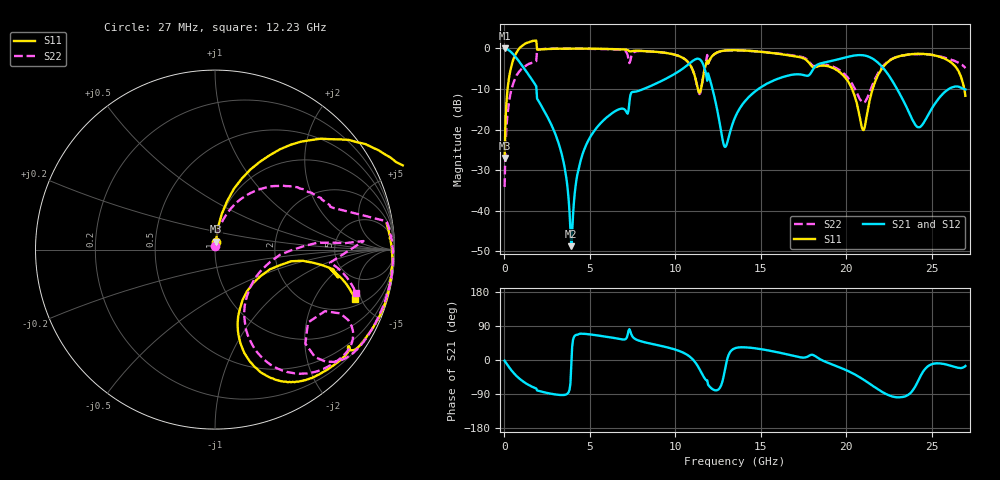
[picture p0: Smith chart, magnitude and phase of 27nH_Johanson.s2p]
#  HZ  S  MA  R  50.00
! Rohde & Schwarz ZVA67 4Ports - Version 4.11 - 1305.7002k04 SN: 101051
! Date: 2023-05-24 10:44:31
! Measurements: S11 S21 S12 S22
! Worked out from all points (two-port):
!   540 points, 27 MHz to 26.98 GHz, reference 50 ohm
!   highest |S21| = -0.02 dB at 27 MHz (marker M1); lowest = -48.8 dB at 3.927 GHz (marker M2)
!   |S21| within 3 dB of the highest: start of sweep to 841.1 MHz; 19.22 GHz to 21.72 GHz (2.5 GHz wide, 12.2 % of centre)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
!   lowest |S11| = -27.0 dB at 27 MHz (marker M3), VSWR 1.09, Z = 50.3 + j4.48 ohm
!   |S11| at or under -10 dB: start of sweep to 203.3 MHz; 11.33 GHz to 11.51 GHz (178.6 MHz wide, 1.56 % of centre); 20.34 GHz to 21.55 GHz (1.209 GHz wide, 5.77 % of centre)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
!   |S22| runs from -34.2 to 0.0 dB; largest |S21 - S12| = 0.055
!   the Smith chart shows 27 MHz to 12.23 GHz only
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2.7e7  0.04469 83.3  0.9975 -2.0  0.9997 -2.3  0.01956 86.5
2.77e8  0.4221 69.4  0.9478 -18.3  0.9473 -18.4  0.2116 71.7
8.27e8  0.9633 39.4  0.7129 -46.5  0.7116 -46.7  0.4979 45.4
1.777e9  1.24 9.2  0.3678 -73.4  0.3669 -73.8  0.6845 21.4
2.027e9  0.9699 7.3  0.2215 -81.6  0.2208 -82.0  0.9719 8.1
3.177e9  0.9917 -4.4  0.06842 -92.0  0.06836 -92.6  0.9919 -4.7
3.927e9  0.9907 -10.3  0.003643 -15.7  0.00364 -16.7  0.994 -11.5
4.527e9  0.9946 -14.5  0.04534 69.4  0.04521 68.5  0.9896 -16.6
9.027e9  0.9014 -51.3  0.3806 38.8  0.3796 37.1  0.9018 -46.8
1.0477e10  0.7579 -67.9  0.5686 19.3  0.5669 17.5  0.7599 -61.6
1.1227e10  0.3926 -70.8  0.7397 -9.4  0.7376 -11.4  0.3937 -65.7
1.1477e10  0.2942 -29.9  0.7233 -28.3  0.7209 -30.4  0.2838 -22.9
1.1777e10  0.6037 -8.3  0.5131 -51.5  0.5109 -53.6  0.6532 3.4
1.2877e10  0.9393 -34.6  0.06224 -34.1  0.06196 -36.4  0.9354 -33.3
1.3527e10  0.9502 -43.1  0.1444 31.5  0.1435 29.3  0.9479 -42.5
1.8027e10  0.5931 -95.9  0.5345 13.7  0.5343 10.6  0.6173 -89.4
1.9927e10  0.4423 -114.5  0.7697 -25.3  0.7695 -28.8  0.4778 -95.8
2.1027e10  0.09836 -56.4  0.821 -52.1  0.82 -55.8  0.215 -53.5
2.2527e10  0.7029 -29.6  0.4541 -93.5  0.4531 -97.8  0.709 -25.8
2.4227e10  0.8584 -60.9  0.1066 -53.8  0.106 -58.0  0.8506 -55.8
2.5927e10  0.7185 -90.1  0.3076 -12.8  0.3065 -17.2  0.7518 -84.9
2.6977e10  0.2604 -137.0  0.3112 -15.7  0.3099 -20.3  0.5708 -116.5
